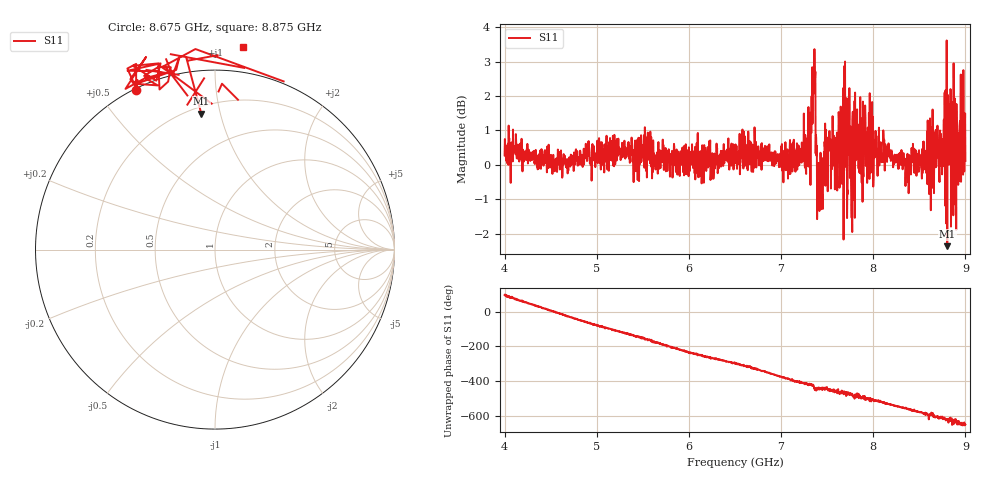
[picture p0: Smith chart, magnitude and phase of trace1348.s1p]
! Created with skrf 1.8.0 (http://scikit-rf.org).
# Hz S RI R 50.0
!freq ReS11 ImS11
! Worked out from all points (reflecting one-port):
!   1601 points, 4 GHz to 9 GHz, reference 50 ohm
!   lowest |S11| = -2.4 dB at 8.803 GHz (marker M1), VSWR 7.40, Z = 12.1 + j43.7 ohm
!   phase of S11 starts at 97 deg and turns -747 deg over the sweep
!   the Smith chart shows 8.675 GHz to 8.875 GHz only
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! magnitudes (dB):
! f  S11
! 4 GHz  0.3
! 4.625 GHz  -0.4
! 5.25 GHz  0.5
! 5.875 GHz  -0.3
! 6.5 GHz  0.2
! 7.125 GHz  0.2
! 7.294 GHz  0.3
! 7.347 GHz  2.2
! 7.362 GHz  3.4
! 7.4 GHz  0.0
! 7.416 GHz  -1.3
! 7.5 GHz  -0.1
! 7.594 GHz  -0.3
! 7.65 GHz  1.3
! 7.659 GHz  -0.5
! 7.669 GHz  1.4
! 7.75 GHz  -0.1
! 7.775 GHz  1.3
! 7.822 GHz  0.5
! 7.928 GHz  0.6
! 8.375 GHz  -0.2
! 8.612 GHz  0.9
! 8.803 GHz  -2.4
! 8.819 GHz  1.3
! 8.869 GHz  -1.5
! 8.919 GHz  -0.1
! 8.972 GHz  0.8
! 9 GHz  0.1
